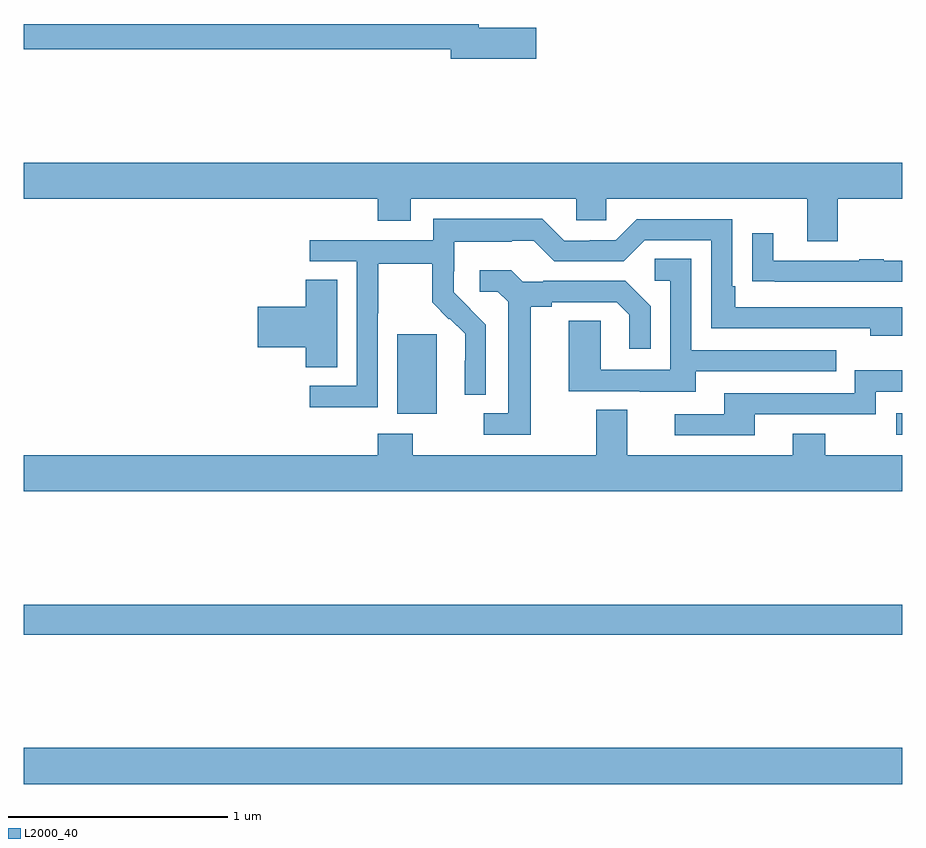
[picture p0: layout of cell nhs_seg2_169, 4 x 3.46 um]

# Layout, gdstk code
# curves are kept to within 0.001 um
import gdstk
lib = gdstk.Library(unit=1e-6, precision=1e-09)
def R(c, l, rs):  # rectangles x0, y0, x1, y1
    for r in rs: c.add(gdstk.rectangle(r[:2], r[2:], *l))
def P(c, l, *ps):  # polygons
    for p in ps: c.add(gdstk.Polygon(p, *l))
L2000_40 = (2000, 40)

nhs_seg2_169 = lib.new_cell('nhs_seg2_169')
R(nhs_seg2_169, L2000_40, [(119,610.34,123,610.504), (119,611.02,123,611.156), (122.973,611.931,123,612.027), (120.701,612.026,120.88,612.387)])
P(nhs_seg2_169, L2000_40, [(121.333,613.784),(121.072,613.784),(121.072,613.8),(119,613.8),(119,613.684),(120.944,613.684),(120.944,613.642),(121.333,613.642)],
  [(122.707,613.004),(123,613.004),(123,613.168),(119,613.168),(119,613.004),(120.611,613.004),(120.611,612.905),(120.763,612.905),(120.763,613.004),(121.515,613.004),(121.515,612.906),(121.653,612.906),(121.653,613.004),(122.567,613.004),(122.567,612.81),(122.707,612.81)],
  [(120.612,612.484),(120.615,612.484),(120.615,612.708),(120.859,612.708),(120.859,612.533),(120.936,612.456),(120.939,612.459),(121.01,612.389),(121.01,612.266),(121.008,612.266),(121.008,612.112),(121.104,612.112),(121.104,612.43),(120.958,612.578),(120.958,612.675),(120.96,612.675),(120.96,612.809),(121.223,612.809),(121.223,612.813),(121.323,612.813),(121.416,612.72),(121.731,612.72),(121.827,612.816),(122.13,612.816),(122.13,612.414),(122.855,612.414),(122.855,612.38),(123,612.38),(123,612.51),(122.239,612.51),(122.239,612.607),(122.226,612.607),(122.226,612.912),(121.791,612.912),(121.695,612.816),(121.577,612.816),(121.577,612.813),(121.461,612.813),(121.361,612.913),(120.864,612.913),(120.864,612.816),(120.303,612.816),(120.303,612.72),(120.516,612.72),(120.516,612.153),(120.303,612.153),(120.303,612.055),(120.612,612.055)],
  [(123,612.723),(122.915,612.723),(122.915,612.728),(122.803,612.728),(122.803,612.723),(122.413,612.723),(122.413,612.847),(122.317,612.847),(122.317,612.628),(122.419,612.628),(122.419,612.627),(123,612.627)],
  [(122.059,612.219),(122.699,612.219),(122.699,612.315),(122.04,612.315),(122.04,612.731),(121.872,612.731),(121.872,612.63),(121.944,612.63),(121.944,612.225),(121.626,612.225),(121.626,612.449),(121.481,612.449),(121.481,612.129),(121.805,612.129),(121.805,612.125),(122.059,612.125)],
  [(121.309,612.512),(121.405,612.512),(121.405,612.534),(121.7,612.534),(121.757,612.477),(121.757,612.321),(121.854,612.321),(121.854,612.514),(121.738,612.63),(121.366,612.63),(121.366,612.627),(121.272,612.627),(121.22,612.679),(121.077,612.679),(121.077,612.582),(121.158,612.582),(121.205,612.535),(121.205,612.027),(121.095,612.027),(121.095,611.931),(121.309,611.931)],
  [(120.427,612.635),(120.284,612.635),(120.284,612.512),(120.066,612.512),(120.066,612.329),(120.284,612.329),(120.284,612.238),(120.427,612.238)],
  [(122.329,612.024),(122.88,612.024),(122.88,612.126),(123,612.126),(123,612.223),(122.784,612.223),(122.784,612.12),(122.189,612.12),(122.189,612.024),(121.965,612.024),(121.965,611.928),(122.329,611.928)],
  [(123,611.836),(122.649,611.836),(122.649,611.935),(122.501,611.935),(122.501,611.836),(121.747,611.836),(121.747,612.044),(121.607,612.044),(121.607,611.836),(120.771,611.836),(120.771,611.935),(120.611,611.935),(120.611,611.836),(119,611.836),(119,611.672),(123,611.672)])

lib.write_gds('nhs_seg2_169.gds')
